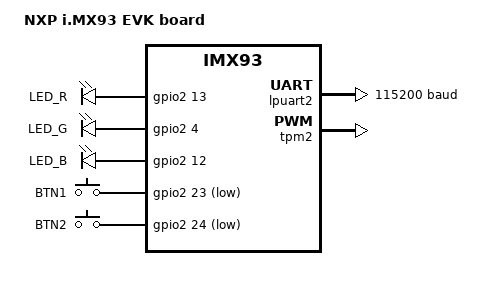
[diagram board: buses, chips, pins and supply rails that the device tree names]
/*
 * Copyright 2024 NXP
 *
 * SPDX-License-Identifier: Apache-2.0
 */

/dts-v1/;

#include <nxp/nxp_imx93_m33.dtsi>
#include "imx93_evk-pinctrl.dtsi"
#include <zephyr/dt-bindings/input/input-event-codes.h>

/ {
	model = "NXP i.MX93 EVK board";
	compatible = "nxp,imx93_evk";

	chosen {
		/* TCM */
		zephyr,flash = &itcm;
		zephyr,sram = &dtcm;

		zephyr,console = &lpuart2;
		zephyr,shell-uart = &lpuart2;
	};

	aliases {
		led0 = &led_r;
		led1 = &led_g;
		sw0 = &btn_1;
	};

	leds {
		compatible = "gpio-leds";
		led_r: led_r {
			label = "LED_R";
			gpios = <&gpio2 13 GPIO_ACTIVE_HIGH>;
		};
		led_g: led_g {
			label = "LED_G";
			gpios = <&gpio2 4 GPIO_ACTIVE_HIGH>;
		};
		led_b: led_b {
			label = "LED_B";
			gpios = <&gpio2 12 GPIO_ACTIVE_HIGH>;
		};
	};

	keys {
		compatible = "gpio-keys";

		btn_1: btn_1{
			label = "BTN1";
			gpios = <&gpio2 23 GPIO_ACTIVE_LOW>;
			zephyr,code = <INPUT_KEY_0>;
		};

		btn_2: btn_2{
			label = "BTN2";
			gpios = <&gpio2 24 GPIO_ACTIVE_LOW>;
			zephyr,code = <INPUT_KEY_1>;
		};
	};
};

&lpuart2 {
	status = "okay";
	current-speed = <115200>;
	pinctrl-0 = <&uart2_default>;
	pinctrl-names = "default";
};

&gpio1 {
	status = "okay";
};

&gpio2 {
	status = "okay";
};

&gpio3 {
	status = "okay";
};

&gpio4 {
	status = "okay";
};

&tpm2 {
	pinctrl-0 = <&tpm2_default>;
	pinctrl-names = "default";
	status = "okay";
};
